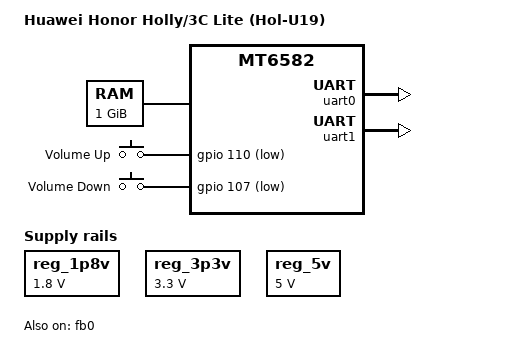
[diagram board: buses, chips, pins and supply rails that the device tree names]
/dts-v1/;
#include <dt-bindings/input/input.h>
#include <dt-bindings/gpio/gpio.h>
#include "mt6582.dtsi"
#include "skeleton.dtsi"
#include "mt6323.dtsi"

/ {
  model = "Huawei Honor Holly/3C Lite (Hol-U19)";
	compatible = "huawei,holly";

	chosen {
		tick-timer = &gpt;
	};

	memory {
		#address-cells = <1>;
		#size-cells = <1>;
		device_type = "memory";
		reg = <0x80000000 0x40000000>;
	};

	// use framebuffer set up by stock lk 
	fb0: framebuffer@beb00000 {
		compatible = "simple-framebuffer";
		reg = <0xbeb00000 (1280 * 720 * 2)>;
		width = <720>;
		height = <1280>;
		stride = <(720 * 2)>;
		format = "r5g6b5";
		status = "okay";
	};
	/* Vol +/- are connected GPIO, PWRKEY is connected to PMIC */
	gpio-keys {
		compatible = "gpio-keys";
		
		vol-up {
			label = "Volume Up";
			linux,code = <KEY_VOLUMEUP>;
			gpios = <&gpio 110 GPIO_ACTIVE_LOW>;
		};

		vol-down {
			label = "Volume Down";
			linux,code = <KEY_VOLUMEDOWN>;
			gpios = <&gpio 107 GPIO_ACTIVE_LOW>;
		};
	};
	reg_1p8v: regulator-1p8v {
		compatible = "regulator-fixed";
		regulator-name = "fixed-1.8V";
		regulator-min-microvolt = <1800000>;
		regulator-max-microvolt = <1800000>;
		regulator-boot-on;
		regulator-always-on;
	};

	reg_3p3v: regulator-3p3v {
		compatible = "regulator-fixed";
		regulator-name = "fixed-3.3V";
		regulator-min-microvolt = <3300000>;
		regulator-max-microvolt = <3300000>;
		regulator-boot-on;
		regulator-always-on;
	};

	reg_5v: regulator-5v {
		compatible = "regulator-fixed";
		regulator-name = "fixed-5V";
		regulator-min-microvolt = <5000000>;
		regulator-max-microvolt = <5000000>;
		regulator-boot-on;
		regulator-always-on;
	};
};

&uart0 {
	status = "okay";
};

&uart1 {
	status = "okay";
};

&pinctrl {
  mmc0_pins_default: mmc0default {
    mux {
      function = "msdc";
      groups =  "msdc0";
    };

    conf-cmd-data {
      pins = "MSDC0_CMD", "MSDC0_DAT0", "MSDC0_DAT1",
             "MSDC0_DAT2", "MSDC0_DAT3", "MSDC0_DAT4",
             "MSDC0_DAT5", "MSDC0_DAT6", "MSDC0_DAT7";
      input-enable;
      bias-pull-up;
    };

    conf-clk {
      pins = "MSDC0_CLK";
      bias-pull-down;
    };

    conf-rst {
      pins = "MSDC0_RSTB";
      bias-pull-up;
    };
  };
};

/* &mmc0 {
  pinctrl-names = "default";
  pinctrl-0 = <&mmc0_pins_default>;
  bus-width = <8>;
  max-frequency = <208000000>;
  cap-mmc-highspeed;
  mmc-ddr-1_8v;
  mmc-hs200-1_8v;
  vmmc-supply = <&reg_3p3v>;
  vqmmc-supply = <&reg_1p8v>;
  non-removable;
  status = "okay";
}; */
